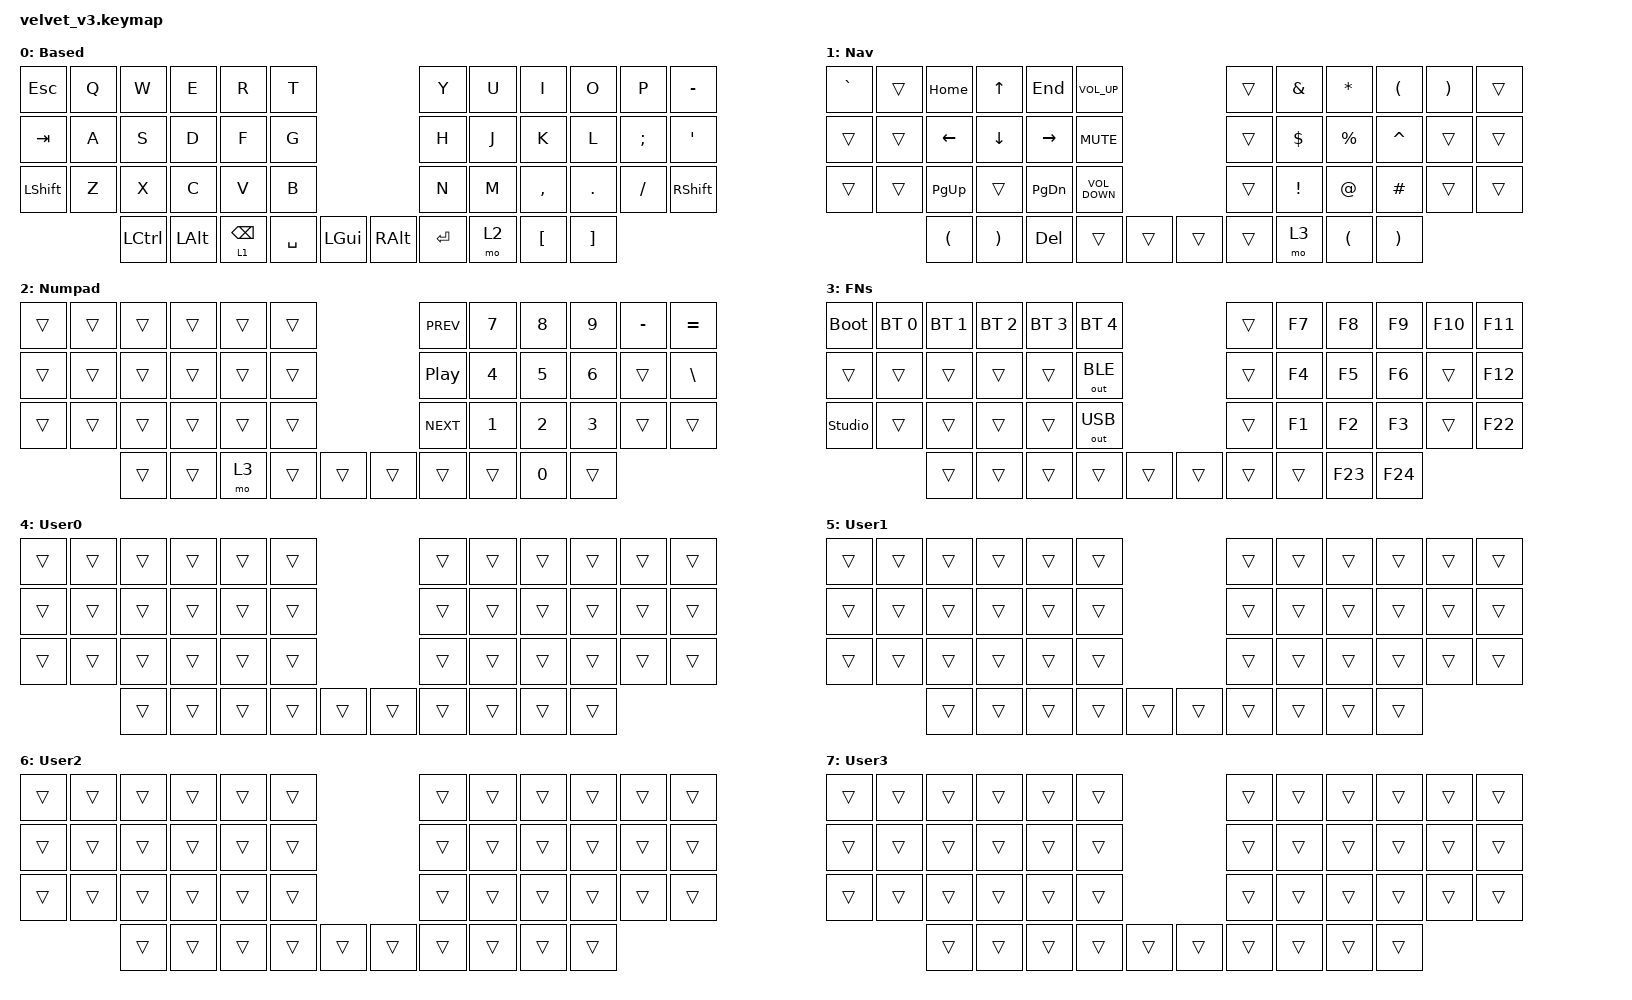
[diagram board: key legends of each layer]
#include "keys_ru.h"
#include <behaviors.dtsi>
#include <dt-bindings/zmk/bt.h>
#include <dt-bindings/zmk/keys.h>
#include <dt-bindings/zmk/outputs.h>

&lt {
    quick-tap-ms = <250>;
    flavor = "hold-preferred";
};

/ {
    keymap {
        compatible = "zmk,keymap";

        base {
            bindings = <
&kp ESC    &kp Q  &kp W      &kp E         &kp R            &kp T                                     &kp Y      &kp U  &kp I      &kp O     &kp P      &kp MINUS
&kp TAB    &kp A  &kp S      &kp D         &kp F            &kp G                                     &kp H      &kp J  &kp K      &kp L     &kp SEMI   &kp SINGLE_QUOTE
&kp LSHFT  &kp Z  &kp X      &kp C         &kp V            &kp B                                     &kp N      &kp M  &kp COMMA  &kp DOT   &kp SLASH  &kp RSHFT
                  &kp LCTRL  &kp LEFT_ALT  &lt 1 BACKSPACE  &kp SPACE  &kp LEFT_GUI    &kp RIGHT_ALT  &kp ENTER  &mo 2  &kp LBKT   &kp RBKT
            >;

            display-name = "Based";
        };

        nav {
            bindings = <
&kp GRAVE  &trans  &kp HOME   &kp UP    &kp END     &kp C_VOLUME_UP                      &trans  &kp AMPS    &kp STAR              &kp LPAR               &kp RPAR  &trans
&trans     &trans  &kp LEFT   &kp DOWN  &kp RIGHT   &kp K_MUTE                           &trans  &kp DOLLAR  &kp PERCENT           &kp CARET              &trans    &trans
&trans     &trans  &kp PG_UP  &trans    &kp PG_DN   &kp C_VOLUME_DOWN                    &trans  &kp EXCL    &kp AT                &kp HASH               &trans    &trans
                   &kp LPAR   &kp RPAR  &kp DELETE  &trans             &trans    &trans  &trans  &mo 3       &kp LEFT_PARENTHESIS  &kp RIGHT_PARENTHESIS
            >;

            display-name = "Nav";
        };

        num {
            bindings = <
&trans  &trans  &trans  &trans  &trans  &trans                    &kp C_PREV        &kp N7  &kp N8  &kp N9  &kp MINUS  &kp EQUAL
&trans  &trans  &trans  &trans  &trans  &trans                    &kp C_PLAY_PAUSE  &kp N4  &kp N5  &kp N6  &trans     &kp BSLH
&trans  &trans  &trans  &trans  &trans  &trans                    &kp C_NEXT        &kp N1  &kp N2  &kp N3  &trans     &trans
                &trans  &trans  &mo 3   &trans  &trans    &trans  &trans            &trans  &kp N0  &trans
            >;

            display-name = "Numpad";
        };

        fns {
            bindings = <
&bootloader     &bt BT_SEL 0  &bt BT_SEL 1  &bt BT_SEL 2  &bt BT_SEL 3  &bt BT_SEL 4                    &trans  &kp F7  &kp F8   &kp F9   &kp F10  &kp F11
&trans          &trans        &trans        &trans        &trans        &out OUT_BLE                    &trans  &kp F4  &kp F5   &kp F6   &trans   &kp F12
&studio_unlock  &trans        &trans        &trans        &trans        &out OUT_USB                    &trans  &kp F1  &kp F2   &kp F3   &trans   &kp F22
                              &trans        &trans        &trans        &trans        &trans    &trans  &trans  &trans  &kp F23  &kp F24
            >;

            display-name = "FNs";
        };

        User0 {
            bindings = <
&trans  &trans  &trans  &trans  &trans  &trans                    &trans  &trans  &trans  &trans  &trans  &trans
&trans  &trans  &trans  &trans  &trans  &trans                    &trans  &trans  &trans  &trans  &trans  &trans
&trans  &trans  &trans  &trans  &trans  &trans                    &trans  &trans  &trans  &trans  &trans  &trans
                &trans  &trans  &trans  &trans  &trans    &trans  &trans  &trans  &trans  &trans
            >;

            display-name = "User0";
        };

        User1 {
            bindings = <
&trans  &trans  &trans  &trans  &trans  &trans                    &trans  &trans  &trans  &trans  &trans  &trans
&trans  &trans  &trans  &trans  &trans  &trans                    &trans  &trans  &trans  &trans  &trans  &trans
&trans  &trans  &trans  &trans  &trans  &trans                    &trans  &trans  &trans  &trans  &trans  &trans
                &trans  &trans  &trans  &trans  &trans    &trans  &trans  &trans  &trans  &trans
            >;

            display-name = "User1";
        };

        User2 {
            bindings = <
&trans  &trans  &trans  &trans  &trans  &trans                    &trans  &trans  &trans  &trans  &trans  &trans
&trans  &trans  &trans  &trans  &trans  &trans                    &trans  &trans  &trans  &trans  &trans  &trans
&trans  &trans  &trans  &trans  &trans  &trans                    &trans  &trans  &trans  &trans  &trans  &trans
                &trans  &trans  &trans  &trans  &trans    &trans  &trans  &trans  &trans  &trans
            >;

            display-name = "User2";
        };

        User3 {
            bindings = <
&trans  &trans  &trans  &trans  &trans  &trans                    &trans  &trans  &trans  &trans  &trans  &trans
&trans  &trans  &trans  &trans  &trans  &trans                    &trans  &trans  &trans  &trans  &trans  &trans
&trans  &trans  &trans  &trans  &trans  &trans                    &trans  &trans  &trans  &trans  &trans  &trans
                &trans  &trans  &trans  &trans  &trans    &trans  &trans  &trans  &trans  &trans
            >;

            display-name = "User3";
        };
    };
};
